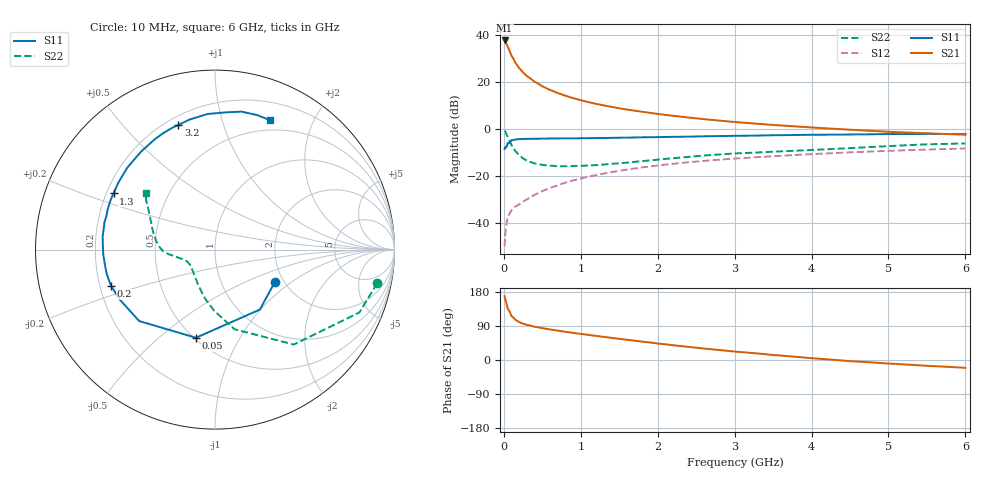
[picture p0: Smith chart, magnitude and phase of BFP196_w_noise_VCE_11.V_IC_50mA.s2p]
! Infineon Technologies  Discrete & RF Semiconductors
! BFP196
! VCE =  11. V,  IC =  50 mA
! Common Emitter S-Parameters:  Jan 2017
# GHz  S  MA  R  50
!  f  S11  S21  S12  S22
! GHz  MAG  ANG  MAG  ANG  MAG  ANG  MAG  ANG
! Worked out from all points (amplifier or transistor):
!   77 points, 10 MHz to 6 GHz, reference 50 ohm
!   highest |S21| = 37.5 dB at 10 MHz (marker M1)
!   |S21| within 3 dB of that: start of sweep to 55 MHz
!   unconditionally stable (mu >= 1): 612 MHz to 2.426 GHz
!   at 130 MHz: K = 0.57, MSG = 31.4 dB, |S12| = -33.5 dB
!   at 2.2 GHz: K = 1.01, MAG = 9.5 dB, |S12| = -14.7 dB
!   at 6 GHz: K = 0.93, MSG = 2.9 dB, |S12| = -8.2 dB
!   lowest NFmin = 1.45 dB at 450 MHz
!   S11 on the Smith chart (normalised r, x): 10 MHz: 1.81, -0.75; 50 MHz: 0.51, -0.67; 200 MHz: 0.25, -0.16; 1.3 GHz: 0.23, +0.25; 3.2 GHz: 0.25, +0.72; 6 GHz: 0.39, +1.44
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0.01  0.3793 -28.0  75.23 168.5  0.0033 69.1  0.9233 -11.7
0.02  0.4172 -53.2  72.05 158.6  0.0065 74.8  0.8774 -23.5
0.05  0.5025 -102.2  55.45 135.4  0.0135 57.5  0.6876 -50.3
0.1  0.5805 -136.7  35.74 115.7  0.0189 51.3  0.4572 -76.2
0.15  0.5998 -152.5  25.38 106.1  0.0228 51.8  0.3392 -91.0
0.2  0.6133 -160.8  19.53 100.1  0.0254 54.8  0.2775 -101.7
0.25  0.618 -167.0  15.8 95.8  0.029 56.1  0.2385 -109.6
0.3  0.6189 -171.2  13.24 92.8  0.0323 58.9  0.2138 -116.7
0.4  0.6231 -177.6  10.04 87.8  0.0404 62.2  0.1868 -126.8
0.5  0.626 177.1  8.06 83.9  0.0484 64.2  0.1741 -134.5
0.6  0.6305 173.1  6.752 80.5  0.0567 64.2  0.1674 -140.7
0.7  0.6306 169.8  5.793 77.6  0.0639 65.7  0.1631 -145.3
0.9  0.6331 162.9  4.513 71.6  0.0813 64.6  0.1647 -151.7
1.1  0.6412 156.8  3.719 66.3  0.0977 63.4  0.169 -156.7
1.3  0.6459 151.0  3.161 61.0  0.114 61.8  0.1769 -160.3
1.7  0.6621 140.1  2.447 50.9  0.1461 57.3  0.2018 -166.1
2.1  0.6779 129.7  1.996 41.4  0.176 52.2  0.2327 -171.2
3.1  0.7205 108.3  1.37 20.7  0.2423 39.4  0.3084 177.3
3.2  0.7238 106.4  1.33 19.0  0.2481 38.2  0.3136 175.9
4.1  0.7575 91.7  1.056 3.3  0.2989 27.6  0.3662 162.0
5.1  0.7825 77.8  0.862 -10.4  0.3494 16.1  0.4422 147.7
6  0.7835 66.9  0.757 -20.6  0.3884 6.0  0.4962 140.3
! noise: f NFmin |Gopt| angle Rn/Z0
0.45  1.45  0.4  -176  0.06
0.9  1.6  0.47  -164  0.08
1.9  2.42  0.68  -132  0.32
2.4  2.82  0.7  -119  0.66
